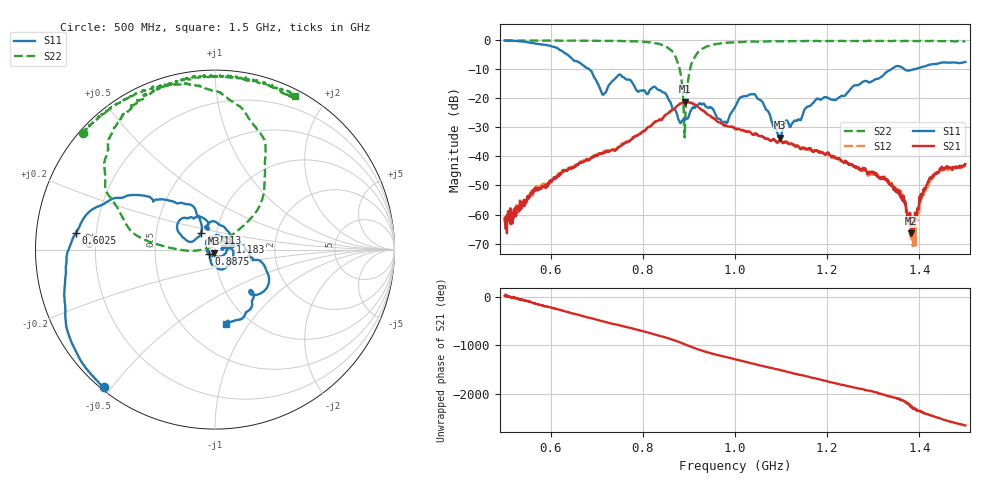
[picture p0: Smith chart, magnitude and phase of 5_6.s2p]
!Agilent Technologies,E8364B,US42250235,A.06.04.32
!Agilent E8364B: A.06.04.32
!Date: Friday, January 15, 2021 12:37:26
!Correction: S11(Full 2 Port(1,2)) S21(Full 2 Port(1,2)) S12(Full 2 Port(1,2)) S22(Full 2 Port(1,2))
!S2P File: Measurements: S11, S21, S12, S22:
# Hz S  dB  R 50
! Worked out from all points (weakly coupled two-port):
!   1601 points, 500 MHz to 1.5 GHz, reference 50 ohm
!   highest |S21| = -21.13 dB at 890.6 MHz (marker M1); lowest = -66.5 dB at 1.383 GHz (marker M2)
!   lowest |S11| = -33.6 dB at 1.097 GHz (marker M3), VSWR 1.04, Z = 49.5 - j2.02 ohm
!   |S11| at or under -10 dB: 683.4 MHz to 1.339 GHz (656 MHz wide, 64.9 % of centre); 1.368 GHz to 1.39 GHz (22.57 MHz wide, 1.64 % of centre)
!   |S22| runs from -33.4 to -0.1 dB; largest |S21 - S12| = 0.0077
!   S11 on the Smith chart (normalised r, x): 500 MHz: 0.01, -0.48; 602.5 MHz: 0.12, +0.06; 711.2 MHz: 0.84, +0.16; 887.5 MHz: 0.93, -0.04; 1.183 GHz: 1.18, +0.10; 1.5 GHz: 0.78, -0.79
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5e8  -0.11 -128.9  -61.35 17.2  -61.63 26.9  -0.14 138.5
6.025e8  -2.15 173.3  -48.37 131.0  -48.01 132.4  -0.19 129.3
6.66875e8  -8.23 134.3  -41.93 -32.8  -41.66 -36.0  -0.17 122.2
7.1125e8  -18.38 129.6  -38.89 -141.8  -38.59 -146.6  -0.23 116.9
7.49375e8  -11.85 142.4  -36.81 130.4  -36.62 127.4  -0.27 111.0
8.3375e8  -17.18 78.7  -27.69 -80.0  -27.51 -85.9  -1.22 87.5
8.71875e8  -24.48 -25.4  -23.03 171.4  -23.19 166.0  -6.11 55.9
8.875e8  -27.38 -146.7  -21.33 114.9  -21.50 110.6  -20.02 41.5
8.90625e8  -27.21 -168.1  -21.13 102.4  -21.26 97.9  -33.44 106.6
9.0375e8  -24.41 144.5  -21.51 53.1  -21.54 48.1  -9.07 173.7
9.1875e8  -22.46 93.9  -22.73 -0.4  -22.87 -4.8  -4.36 156.0
9.78125e8  -28.07 7.1  -29.42 -154.7  -29.28 -161.2  -0.99 126.6
1e9  -23.11 8.2  -30.43 153.0  -30.34 148.1  -0.75 120.7
1.041875e9  -18.57 -68.9  -32.20 58.9  -32.44 52.1  -0.47 114.8
1.0975e9  -33.58 -102.6  -34.49 -66.9  -35.00 -73.6  -0.39 106.8
1.166875e9  -21.97 60.1  -37.86 133.4  -37.89 129.9  -0.36 98.0
1.183125e9  -20.38 25.9  -38.45 100.5  -38.47 92.3  -0.35 97.0
1.33375e9  -10.49 -20.0  -49.22 115.6  -49.52 120.6  -0.28 81.4
1.363125e9  -9.49 -49.0  -54.13 20.7  -53.63 34.8  -0.33 77.5
1.3825e9  -10.30 -48.1  -66.50 -86.9  -65.66 -75.7  -0.30 76.1
1.429375e9  -8.25 -60.4  -46.44 64.2  -47.28 62.2  -0.28 70.9
1.5e9  -7.52 -81.7  -42.60 -126.6  -43.02 -132.1  -0.33 62.5
